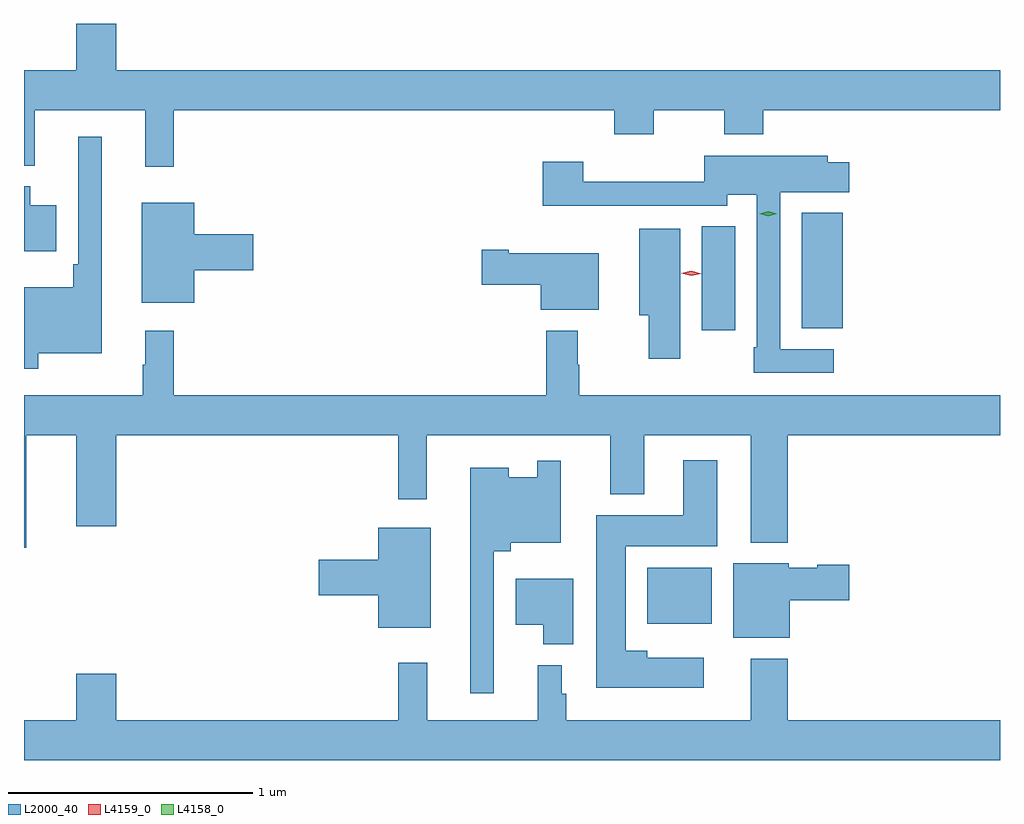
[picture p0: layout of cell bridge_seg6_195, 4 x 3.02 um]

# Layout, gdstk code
import gdstk
lib = gdstk.Library(unit=1e-6, precision=1e-09)
def R(c, l, rs):  # rectangles x0, y0, x1, y1
    for r in rs: c.add(gdstk.rectangle(r[:2], r[2:], *l))
def P(c, l, *ps):  # polygons
    for p in ps: c.add(gdstk.Polygon(p, *l))
L2000_40 = (2000, 40)
L4158_0 = (4158, 0)
L4159_0 = (4159, 0)

bridge_seg6_195 = lib.new_cell('bridge_seg6_195')
R(bridge_seg6_195, L2000_40, [(251.264,993.182,251.527,993.412), (251.486,994.386,251.623,994.811), (251.897,994.393,252.064,994.867)])
P(bridge_seg6_195, L2000_40, [(249.323,995.288),(251.129,995.288),(251.129,995.189),(251.289,995.189),(251.289,995.288),(251.578,995.288),(251.578,995.189),(251.738,995.189),(251.738,995.288),(252.709,995.288),(252.709,995.452),(249.088,995.452),(249.088,995.641),(248.924,995.641),(248.924,995.452),(248.709,995.452),(248.709,995.06),(248.753,995.06),(248.753,995.288),(249.206,995.288),(249.206,995.055),(249.323,995.055)],
  [(248.767,994.292),(249.028,994.292),(249.028,995.179),(248.931,995.179),(248.931,994.657),(248.911,994.657),(248.911,994.561),(248.709,994.561),(248.709,994.227),(248.767,994.227)],
  [(252.028,994.308),(251.808,994.308),(251.808,994.952),(252.091,994.952),(252.091,995.074),(252.003,995.074),(252.003,995.101),(251.496,995.101),(251.496,994.994),(251,994.994),(251,995.077),(250.835,995.077),(250.835,994.895),(251.083,994.895),(251.083,994.896),(251.592,994.896),(251.592,994.94),(251.712,994.94),(251.712,994.315),(251.7,994.315),(251.7,994.212),(252.028,994.212)],
  [(248.842,994.897),(248.734,994.897),(248.734,994.975),(248.709,994.975),(248.709,994.709),(248.842,994.709)],
  [(249.406,994.631),(249.649,994.631),(249.649,994.778),(249.406,994.778),(249.406,994.909),(249.191,994.909),(249.191,994.499),(249.406,994.499)],
  [(251.398,994.801),(251.231,994.801),(251.231,994.448),(251.269,994.448),(251.269,994.269),(251.398,994.269)],
  [(251.065,994.702),(250.696,994.702),(250.696,994.715),(250.584,994.715),(250.584,994.573),(250.826,994.573),(250.826,994.469),(251.065,994.469)],
  [(248.719,993.956),(248.924,993.956),(248.924,993.582),(249.088,993.582),(249.088,993.956),(250.243,993.956),(250.243,993.693),(250.36,993.693),(250.36,993.956),(251.111,993.956),(251.111,993.713),(251.251,993.713),(251.251,993.956),(251.687,993.956),(251.687,993.515),(251.84,993.515),(251.84,993.956),(252.709,993.956),(252.709,994.12),(250.985,994.12),(250.985,994.244),(250.978,994.244),(250.978,994.384),(250.849,994.384),(250.849,994.12),(249.323,994.12),(249.323,994.384),(249.206,994.384),(249.206,994.244),(249.195,994.244),(249.195,994.12),(248.709,994.12),(248.709,993.495),(248.719,993.495)],
  [(251.494,993.043),(251.263,993.043),(251.263,993.073),(251.176,993.073),(251.176,993.5),(251.551,993.5),(251.551,993.853),(251.411,993.853),(251.411,993.628),(251.054,993.628),(251.054,992.921),(251.494,992.921)],
  [(250.635,993.479),(250.704,993.479),(250.704,993.515),(250.908,993.515),(250.908,993.85),(250.812,993.85),(250.812,993.784),(250.696,993.784),(250.696,993.823),(250.538,993.823),(250.538,992.898),(250.635,992.898)],
  [(250.375,993.577),(250.16,993.577),(250.16,993.446),(249.918,993.446),(249.918,993.299),(250.16,993.299),(250.16,993.167),(250.375,993.167)],
  [(251.848,993.278),(252.091,993.278),(252.091,993.425),(251.961,993.425),(251.961,993.412),(251.844,993.412),(251.844,993.43),(251.615,993.43),(251.615,993.125),(251.848,993.125)],
  [(250.96,993.367),(250.724,993.367),(250.724,993.179),(250.838,993.179),(250.838,993.098),(250.96,993.098)],
  [(252.709,992.788),(251.84,992.788),(251.84,993.04),(251.687,993.04),(251.687,992.788),(250.931,992.788),(250.931,992.895),(250.912,992.895),(250.912,993.013),(250.814,993.013),(250.814,992.788),(250.361,992.788),(250.361,993.022),(250.243,993.022),(250.243,992.788),(249.088,992.788),(249.088,992.977),(248.924,992.977),(248.924,992.788),(248.709,992.788),(248.709,992.624),(252.709,992.624)])
P(bridge_seg6_195, L4158_0, [(251.76,994.853),(251.725,994.863),(251.725,994.863),(251.725,994.863),(251.76,994.873),(251.795,994.863),(251.795,994.863),(251.795,994.863)])
P(bridge_seg6_195, L4159_0, [(251.443,994.609),(251.402,994.619),(251.402,994.619),(251.402,994.619),(251.443,994.629),(251.484,994.618),(251.484,994.618),(251.484,994.618)])

lib.write_gds('bridge_seg6_195.gds')
